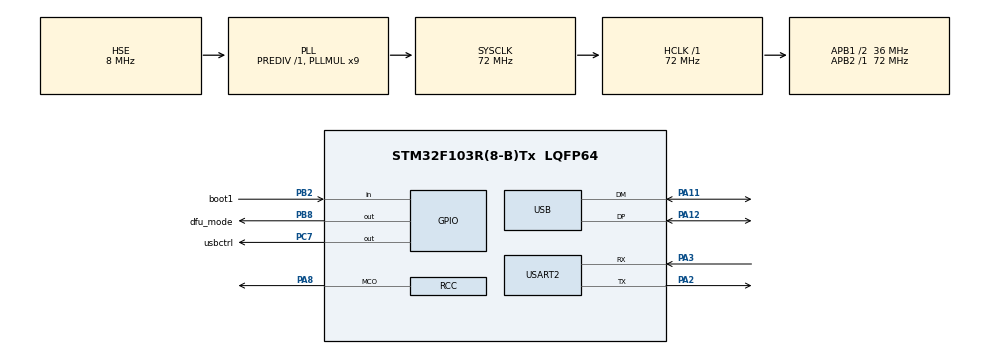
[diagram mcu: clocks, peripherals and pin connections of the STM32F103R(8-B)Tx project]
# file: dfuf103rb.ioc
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Mcu.Family=STM32F1
Mcu.Name=STM32F103R(8-B)Tx
Mcu.Package=LQFP64
NVIC.PriorityGroup=NVIC_PRIORITYGROUP_4
NVIC.USB_HP_CAN1_TX_IRQn=true\:0\:0\:false\:false\:true\:true\:true\:true
NVIC.USB_LP_CAN1_RX0_IRQn=true\:0\:0\:false\:false\:true\:false\:true\:true
PA11.Mode=Device
PA11.Signal=USB_DM
PA12.Mode=Device
PA12.Signal=USB_DP
PA13.Mode=Serial_Wire
PA13.Signal=SYS_JTMS-SWDIO
PA14.Mode=Serial_Wire
PA14.Signal=SYS_JTCK-SWCLK
PA2.Mode=Asynchronous
PA2.Signal=USART2_TX
PA3.Mode=Asynchronous
PA3.Signal=USART2_RX
PA8.Mode=Clock-out
PA8.Signal=RCC_MCO
PB2.GPIO_Label=boot1
PB2.Signal=GPIO_Input
PB8.GPIO_Label=dfu_mode
PB8.Signal=GPIO_Output
PC7.GPIO_Label=usbctrl
PC7.Signal=GPIO_Output
PD0-OSC_IN.Mode=HSE-External-Oscillator
PD0-OSC_IN.Signal=RCC_OSC_IN
PD1-OSC_OUT.Mode=HSE-External-Oscillator
PD1-OSC_OUT.Signal=RCC_OSC_OUT
ProjectManager.HeapSize=0x200
ProjectManager.StackSize=0x400
ProjectManager.TargetToolchain=STM32CubeIDE
RCC.AHBFreq_Value=72000000
RCC.APB1CLKDivider=RCC_HCLK_DIV2
RCC.APB1Freq_Value=36000000
RCC.APB1TimFreq_Value=72000000
RCC.APB2Freq_Value=72000000
RCC.APB2TimFreq_Value=72000000
RCC.HCLKFreq_Value=72000000
RCC.PLLMUL=RCC_PLL_MUL9
RCC.RCC_MCOSource=RCC_MCO1SOURCE_HSE
RCC.SYSCLKFreq_VALUE=72000000
RCC.SYSCLKSource=RCC_SYSCLKSOURCE_PLLCLK
RCC.USBFreq_Value=48000000
RCC.USBPrescaler=RCC_USBCLKSOURCE_PLL_DIV1_5
USART2.VirtualMode=VM_ASYNC
USB_DEVICE.CLASS_NAME_FS=DFU
USB_DEVICE.USBD_DFU_APP_DEFAULT_ADD=0x08003800
USB_DEVICE.USBD_DFU_MAX_ITF_NUM=1
USB_DEVICE.USBD_DFU_MEDIA=@Internal Flash   /0x08000000/48*1Ka,80*1Kg
USB_DEVICE.USBD_MAX_NUM_CONFIGURATION=1
USB_DEVICE.VirtualMode=Dfu
USB_DEVICE.VirtualModeFS=Dfu_FS
VP_USB_DEVICE_VS_USB_DEVICE_DFU_FS.Mode=DFU_FS
board=custom

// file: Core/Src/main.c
/* USER CODE BEGIN Header */
/**
  ******************************************************************************
  * @file           : main.c
  * @brief          : Main program body
  ******************************************************************************
  * @attention
  *
  * Copyright (c) 2023 STMicroelectronics.
  * All rights reserved.
  *
  * This software is licensed under terms that can be found in the LICENSE file
  * in the root directory of this software component.
  * If no LICENSE file comes with this software, it is provided AS-IS.
  *
  ******************************************************************************
  */
/* USER CODE END Header */
#include "main.h"
#include "usart.h"
#include "usb_device.h"
#include "gpio.h"

/* USER CODE BEGIN Includes */
#include <stdio.h>
#include <usbd_dfu_if.h>
#ifdef UART_DEBUG
#include "uart_dbg.h"
#endif /*UART_DEBUG*/

#ifdef UART_DEBUG
#endif /*UART_DEBUG*/

/* USER CODE END Includes */

/* USER CODE BEGIN PD */
#define CLOSE_INITIALIZE_GENERATION
/* USER CODE END PD */

/* USER CODE BEGIN PV */
typedef  void (*pFunction)(void);
pFunction JumpToApplication;
uint32_t JumpAddress;

/* USER CODE END PV */

void SystemClock_Config(void);

int main(void)
{

  /* MCU Configuration--------------------------------------------------------*/

  /* Reset of all peripherals, Initializes the Flash interface and the Systick. */
  HAL_Init();

  /* Configure the system clock */
  SystemClock_Config();

  /* USER CODE BEGIN SysInit */
#ifndef CLOSE_INITIALIZE_GENERATION
  /* USER CODE END SysInit */

  /* Initialize all configured peripherals */
  MX_GPIO_Init();
  MX_USB_DEVICE_Init();
  MX_USART2_UART_Init();
  /* USER CODE BEGIN 2 */
#endif /* CLOSE_INITIALIZE_GENERATION */
  MX_GPIO_Init();
#ifdef UART_DEBUG
  MX_USART2_UART_Init();
  uart_dbg_init(&huart2);
  printf("configuration %s\n", FLASH_DESC_STR);
#endif /*UART_DEBUG*/
  if(HAL_GPIO_ReadPin(boot1_GPIO_Port, boot1_Pin ) == GPIO_PIN_RESET) {
  /* Test if user code is programmed starting from address 0x08008000 */
    if(((*(__IO uint32_t *) USBD_DFU_APP_DEFAULT_ADD) & 0x2FFC0000) == 0x20000000) {
      /* Jump to user application */
      JumpAddress = *(__IO uint32_t *) (USBD_DFU_APP_DEFAULT_ADD + 4);
      JumpToApplication = (pFunction) JumpAddress;
      /* Initialize user application's Stack Pointer */
      __set_MSP(*(__IO uint32_t *) USBD_DFU_APP_DEFAULT_ADD);
      JumpToApplication();
    }
  }
  HAL_GPIO_WritePin(dfu_mode_GPIO_Port, dfu_mode_Pin, GPIO_PIN_RESET);
  MX_USB_DEVICE_Init();
  /* USER CODE END 2 */

  /* Infinite loop */
  while (1)
  {

  }
}

void SystemClock_Config(void)
{
  RCC_OscInitTypeDef RCC_OscInitStruct = {0};
  RCC_ClkInitTypeDef RCC_ClkInitStruct = {0};
  RCC_PeriphCLKInitTypeDef PeriphClkInit = {0};

  /** Initializes the RCC Oscillators according to the specified parameters
  * in the RCC_OscInitTypeDef structure.
  */
  RCC_OscInitStruct.OscillatorType = RCC_OSCILLATORTYPE_HSE;
  RCC_OscInitStruct.HSEState = RCC_HSE_ON;
  RCC_OscInitStruct.HSEPredivValue = RCC_HSE_PREDIV_DIV1;
  RCC_OscInitStruct.HSIState = RCC_HSI_ON;
  RCC_OscInitStruct.PLL.PLLState = RCC_PLL_ON;
  RCC_OscInitStruct.PLL.PLLSource = RCC_PLLSOURCE_HSE;
  RCC_OscInitStruct.PLL.PLLMUL = RCC_PLL_MUL9;
  if (HAL_RCC_OscConfig(&RCC_OscInitStruct) != HAL_OK)
  {
    Error_Handler();
  }

  /** Initializes the CPU, AHB and APB buses clocks
  */
  RCC_ClkInitStruct.ClockType = RCC_CLOCKTYPE_HCLK|RCC_CLOCKTYPE_SYSCLK
                              |RCC_CLOCKTYPE_PCLK1|RCC_CLOCKTYPE_PCLK2;
  RCC_ClkInitStruct.SYSCLKSource = RCC_SYSCLKSOURCE_PLLCLK;
  RCC_ClkInitStruct.AHBCLKDivider = RCC_SYSCLK_DIV1;
  RCC_ClkInitStruct.APB1CLKDivider = RCC_HCLK_DIV2;
  RCC_ClkInitStruct.APB2CLKDivider = RCC_HCLK_DIV1;

  if (HAL_RCC_ClockConfig(&RCC_ClkInitStruct, FLASH_LATENCY_2) != HAL_OK)
  {
    Error_Handler();
  }
  PeriphClkInit.PeriphClockSelection = RCC_PERIPHCLK_USB;
  PeriphClkInit.UsbClockSelection = RCC_USBCLKSOURCE_PLL_DIV1_5;
  if (HAL_RCCEx_PeriphCLKConfig(&PeriphClkInit) != HAL_OK)
  {
    Error_Handler();
  }
  HAL_RCC_MCOConfig(RCC_MCO, RCC_MCO1SOURCE_HSE, RCC_MCODIV_1);
}

void Error_Handler(void)
{
  __disable_irq();
  while (1)
  {
  }
}
